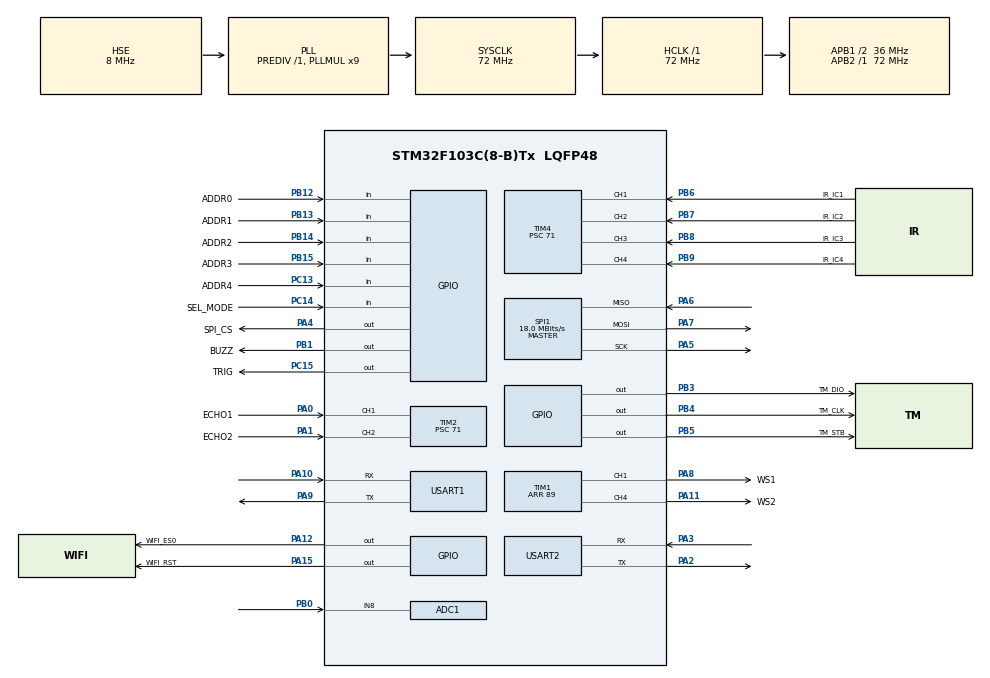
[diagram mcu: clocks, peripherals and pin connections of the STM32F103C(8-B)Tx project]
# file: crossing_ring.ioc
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ADC1.Channel-0\#ChannelRegularConversion=ADC_CHANNEL_8
ADC1.NbrOfConversionFlag=1
ADC1.Rank-0\#ChannelRegularConversion=1
ADC1.SamplingTime-0\#ChannelRegularConversion=ADC_SAMPLETIME_1CYCLE_5
ADC1.master=1
Dma.Request0=TIM1_CH1
Dma.Request1=TIM1_CH4/TRIG/COM
Dma.TIM1_CH1.0.Direction=DMA_MEMORY_TO_PERIPH
Dma.TIM1_CH1.0.Instance=DMA1_Channel2
Dma.TIM1_CH1.0.MemDataAlignment=DMA_MDATAALIGN_HALFWORD
Dma.TIM1_CH1.0.MemInc=DMA_MINC_ENABLE
Dma.TIM1_CH1.0.Mode=DMA_NORMAL
Dma.TIM1_CH1.0.PeriphDataAlignment=DMA_PDATAALIGN_HALFWORD
Dma.TIM1_CH1.0.PeriphInc=DMA_PINC_DISABLE
Dma.TIM1_CH1.0.Priority=DMA_PRIORITY_LOW
Dma.TIM1_CH4/TRIG/COM.1.Direction=DMA_MEMORY_TO_PERIPH
Dma.TIM1_CH4/TRIG/COM.1.Instance=DMA1_Channel4
Dma.TIM1_CH4/TRIG/COM.1.MemDataAlignment=DMA_MDATAALIGN_HALFWORD
Dma.TIM1_CH4/TRIG/COM.1.MemInc=DMA_MINC_ENABLE
Dma.TIM1_CH4/TRIG/COM.1.Mode=DMA_NORMAL
Dma.TIM1_CH4/TRIG/COM.1.PeriphDataAlignment=DMA_PDATAALIGN_HALFWORD
Dma.TIM1_CH4/TRIG/COM.1.PeriphInc=DMA_PINC_DISABLE
Dma.TIM1_CH4/TRIG/COM.1.Priority=DMA_PRIORITY_LOW
Mcu.Family=STM32F1
Mcu.Name=STM32F103C(8-B)Tx
Mcu.Package=LQFP48
NVIC.DMA1_Channel2_IRQn=true\:0\:0\:false\:false\:true\:false\:true\:true
NVIC.DMA1_Channel4_IRQn=true\:0\:0\:false\:false\:true\:false\:true\:true
NVIC.PriorityGroup=NVIC_PRIORITYGROUP_4
NVIC.TIM2_IRQn=true\:0\:0\:false\:false\:true\:true\:true\:true
NVIC.TIM3_IRQn=true\:0\:0\:false\:false\:true\:true\:true\:true
NVIC.TIM4_IRQn=true\:0\:0\:true\:false\:true\:true\:true\:true
NVIC.USART2_IRQn=true\:0\:0\:false\:false\:true\:true\:true\:true
PA0-WKUP.GPIO_Label=ECHO1
PA0-WKUP.Signal=S_TIM2_CH1_ETR
PA1.GPIO_Label=ECHO2
PA1.Signal=S_TIM2_CH2
PA10.Mode=Asynchronous
PA10.Signal=USART1_RX
PA11.GPIO_Label=WS2
PA11.Signal=S_TIM1_CH4
PA12.GPIO_Label=WIFI_ES0
PA12.GPIO_PuPd=GPIO_PULLUP
PA12.Signal=GPIO_Output
PA13.Mode=Serial_Wire
PA13.Signal=SYS_JTMS-SWDIO
PA14.Mode=Serial_Wire
PA14.Signal=SYS_JTCK-SWCLK
PA15.GPIO_Label=WIFI_RST
PA15.GPIO_PuPd=GPIO_PULLUP
PA15.Signal=GPIO_Output
PA2.Mode=Asynchronous
PA2.Signal=USART2_TX
PA3.Mode=Asynchronous
PA3.Signal=USART2_RX
PA4.GPIO_Label=SPI_CS
PA4.Signal=GPIO_Output
PA5.Mode=Full_Duplex_Master
PA5.Signal=SPI1_SCK
PA6.Mode=Full_Duplex_Master
PA6.Signal=SPI1_MISO
PA7.Mode=Full_Duplex_Master
PA7.Signal=SPI1_MOSI
PA8.GPIO_Label=WS1
PA8.Signal=S_TIM1_CH1
PA9.Mode=Asynchronous
PA9.Signal=USART1_TX
PB0.Signal=ADCx_IN8
PB1.GPIO_Label=BUZZ
PB1.Signal=GPIO_Output
PB10.GPIO_Label=E2_SCL
PB10.Signal=I2C2_SCL
PB11.GPIO_Label=E2_SDA
PB11.Signal=I2C2_SDA
PB12.GPIO_Label=ADDR0
PB12.Signal=GPIO_Input
PB13.GPIO_Label=ADDR1
PB13.Signal=GPIO_Input
PB14.GPIO_Label=ADDR2
PB14.Signal=GPIO_Input
PB15.GPIO_Label=ADDR3
PB15.Signal=GPIO_Input
PB3.GPIO_Label=TM_DIO
PB3.GPIO_PuPd=GPIO_PULLUP
PB3.Signal=GPIO_Output
PB4.GPIO_Label=TM_CLK
PB4.GPIO_PuPd=GPIO_PULLUP
PB4.Signal=GPIO_Output
PB5.GPIO_Label=TM_STB
PB5.GPIO_PuPd=GPIO_PULLUP
PB5.Signal=GPIO_Output
PB6.GPIO_Label=IR_IC1
PB6.Signal=S_TIM4_CH1
PB7.GPIO_Label=IR_IC2
PB7.Signal=S_TIM4_CH2
PB8.GPIO_Label=IR_IC3
PB8.Signal=S_TIM4_CH3
PB9.GPIO_Label=IR_IC4
PB9.Signal=S_TIM4_CH4
PC13-TAMPER-RTC.GPIO_Label=ADDR4
PC13-TAMPER-RTC.Signal=GPIO_Input
PC14-OSC32_IN.GPIO_Label=SEL_MODE
PC14-OSC32_IN.Signal=GPIO_Input
PC15-OSC32_OUT.GPIO_Label=TRIG
PC15-OSC32_OUT.GPIO_Speed=GPIO_SPEED_FREQ_HIGH
PC15-OSC32_OUT.Signal=GPIO_Output
PD0-OSC_IN.Mode=HSE-External-Oscillator
PD0-OSC_IN.Signal=RCC_OSC_IN
PD1-OSC_OUT.Mode=HSE-External-Oscillator
PD1-OSC_OUT.Signal=RCC_OSC_OUT
ProjectManager.HeapSize=0x200
ProjectManager.StackSize=0x400
ProjectManager.TargetToolchain=MDK-ARM V5.32
RCC.ADCPresc=RCC_ADCPCLK2_DIV6
RCC.AHBFreq_Value=72000000
RCC.APB1CLKDivider=RCC_HCLK_DIV2
RCC.APB1Freq_Value=36000000
RCC.APB1TimFreq_Value=72000000
RCC.APB2Freq_Value=72000000
RCC.APB2TimFreq_Value=72000000
RCC.HCLKFreq_Value=72000000
RCC.PLLMUL=RCC_PLL_MUL9
RCC.PLLSourceVirtual=RCC_PLLSOURCE_HSE
RCC.SYSCLKFreq_VALUE=72000000
RCC.SYSCLKSource=RCC_SYSCLKSOURCE_PLLCLK
RCC.USBFreq_Value=72000000
SH.ADCx_IN8.0=ADC1_IN8,IN8
SH.S_TIM1_CH1.0=TIM1_CH1,PWM Generation1 CH1
SH.S_TIM1_CH4.0=TIM1_CH4,PWM Generation4 CH4
SH.S_TIM2_CH1_ETR.0=TIM2_CH1,Input_Capture1_from_TI1
SH.S_TIM2_CH2.0=TIM2_CH2,Input_Capture2_from_TI2
SH.S_TIM4_CH1.0=TIM4_CH1,Input_Capture1_from_TI1
SH.S_TIM4_CH2.0=TIM4_CH2,Input_Capture2_from_TI2
SH.S_TIM4_CH3.0=TIM4_CH3,Input_Capture3_from_TI3
SH.S_TIM4_CH4.0=TIM4_CH4,Input_Capture4_from_TI4
SPI1.BaudRatePrescaler=SPI_BAUDRATEPRESCALER_4
SPI1.CalculateBaudRate=18.0 MBits/s
SPI1.Direction=SPI_DIRECTION_2LINES
SPI1.Mode=SPI_MODE_MASTER
SPI1.VirtualType=VM_MASTER
TIM1.Channel-PWM\ Generation1\ CH1=TIM_CHANNEL_1
TIM1.Channel-PWM\ Generation4\ CH4=TIM_CHANNEL_4
TIM1.OCIdleState_1=TIM_OCIDLESTATE_RESET
TIM1.Period=89
TIM2.AutoReloadPreload=TIM_AUTORELOAD_PRELOAD_ENABLE
TIM2.Channel-Input_Capture1_from_TI1=TIM_CHANNEL_1
TIM2.Channel-Input_Capture2_from_TI2=TIM_CHANNEL_2
TIM2.ICFilter_CH1=8
TIM2.ICFilter_CH2=8
TIM2.Prescaler=71
TIM3.AutoReloadPreload=TIM_AUTORELOAD_PRELOAD_ENABLE
TIM3.Period=999
TIM3.Prescaler=71
TIM3.TIM_MasterOutputTrigger=TIM_TRGO_UPDATE
TIM4.AutoReloadPreload=TIM_AUTORELOAD_PRELOAD_ENABLE
TIM4.Channel-Input_Capture1_from_TI1=TIM_CHANNEL_1
TIM4.Channel-Input_Capture2_from_TI2=TIM_CHANNEL_2
TIM4.Channel-Input_Capture3_from_TI3=TIM_CHANNEL_3
TIM4.Channel-Input_Capture4_from_TI4=TIM_CHANNEL_4
TIM4.ICFilter_CH1=3
TIM4.Prescaler=71
USART1.VirtualMode=VM_ASYNC
USART2.VirtualMode=VM_ASYNC
VP_TIM3_VS_ClockSourceINT.Mode=Internal
board=custom

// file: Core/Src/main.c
/* USER CODE BEGIN Header */
/**
  ******************************************************************************
  * @file           : main.c
  * @brief          : Main program body
  ******************************************************************************
  * @attention
  *
  * Copyright (c) 2025 STMicroelectronics.
  * All rights reserved.
  *
  * This software is licensed under terms that can be found in the LICENSE file
  * in the root directory of this software component.
  * If no LICENSE file comes with this software, it is provided AS-IS.
  *
  ******************************************************************************
  */
/* USER CODE END Header */
#include "main.h"
#include "adc.h"
#include "dma.h"
#include "spi.h"
#include "tim.h"
#include "usart.h"
#include "gpio.h"

/* USER CODE BEGIN Includes */
#include "debug_log.h"
#include "gpio_ctrl.h"
#include "wifi_b35.h"
#include "tm1628a.h"
#include "ex_flash.h"
#include "string.h"
#include "ir.h"
#include "hc_sr04.h"
#include "ws2812b.h"
#include "config_info.h"
#include "longing.h"

/* USER CODE END Includes */

void SystemClock_Config(void);

/* USER CODE BEGIN 0 */

enum system_state{
  sys_wait_check,
  sys_checking,
  sys_reco_succ,
  sys_reco_fail,
  sys_wait_rst,
  sys_free_sta
};

uint8_t test_buf[200];

uint8_t current_state = sys_wait_check;
/* USER CODE END 0 */

int main(void)
{

  /* USER CODE BEGIN 1 */

  uint8_t artifical_res;
  uint16_t local_addr,send_len,cnt;

  /* USER CODE END 1 */

  /* MCU Configuration--------------------------------------------------------*/

  /* Reset of all peripherals, Initializes the Flash interface and the Systick. */
  HAL_Init();

  /* Configure the system clock */
  SystemClock_Config();

  /* Initialize all configured peripherals */
  MX_GPIO_Init();
  MX_DMA_Init();
  MX_TIM1_Init();
  MX_ADC1_Init();
  MX_SPI1_Init();
  MX_TIM2_Init();
  MX_TIM4_Init();
  MX_USART1_UART_Init();
  MX_USART2_UART_Init();
  MX_TIM3_Init();
  /* USER CODE BEGIN 2 */

  ir_init();
  hc_init();
  status_time_init();

  ringbuffer_init(&ringbuffer, rx_buff, 200);
  HAL_UART_Receive_IT(&huart2, &rx_data, 1);
  /* USER CODE END 2 */

  /* Infinite loop */
  /* USER CODE BEGIN WHILE */
  emlog(LOG_INFO, "enter main\r\n");

  // get local addr
  local_addr = get_dip_switch_addr();

  // get device mode
  get_device_mode();

  // digital tube self-check
  tm1628a_init(0);

  /* extern flash test */
  m25p16_sector_erase(0,1);    // 擦写1页，必要操作
  mylog("sizeof(config_info_1) = %d\r\n", sizeof(config_info_1));
  m25p16_read_data(0, (uint8_t*)&config_info_1, sizeof(config_info_1));
  print_config_info(config_info_1);
  config_info_init(&config_info_1);
  print_config_info(config_info_1);
  m25p16_write_page(0, (uint8_t*)&config_info_1, sizeof(config_info_1));
  m25p16_read_data(0, (uint8_t*)&config_info_1, sizeof(config_info_1));
  print_config_info(config_info_1);

  if(config_info_1.connc_flag!=1)
  {
    config_device_mode(DHCP_MODE, TCP_MODE, CLIENT_MODE);
    mylog("config info:\r\n");
    query_config_info();
  }
  else
  {
    wifi_reset();
  }

  mylog("dist self-check.\r\n");
  // hc_read(dist, HC_HEAD_NUM);
  // config_info_1.device_height = (dist[0] + dist[1]) / 2;

  /* 灯带测试 */
  // breatheLED(GREEN, 0, LED_TOTAL_CNT, 100);
  // ws_light_inc(NULL, 0, LED_TOTAL_CNT, GREEN, 1);
  // ws_light_shine(NULL, 50, CYAN);
  // ws_light_shine(NULL, LED_TOTAL_CNT, GREEN);

  while (1)
  {
    // set_buzz(BUZZ_SINGLE, 2000);
    // tm1628a_show_count(num,0,100,0);
    // num++;
    // tm1628a_show_code(1, 100, 0);

    /* 红外遥控接收测试 */
    // ir_read(ir_id, IR_HEAD_NUM);

    //   for(i=0;i<4;i++)
    //   {
    //     emlog(LOG_DEBUG, "CH: %d, %02x-%02x-%02x-%02x\r\n", i, ir_id[i][0], ir_id[i][1], ir_id[i][2], ir_id[i][3]);
    //     memset(ir_id[i], 0, 4);
    //   }

    /* 超声波测距测�??????? */

    // hc_read(dist, HC_HEAD_NUM);
    // mylog("left dist: %.2f cm --- %.2f m, right dist: %.2f cm --- %.2f m\r\n", dist[0],(dist[0] / 100.0), dist[1], (dist[1] / 100.0));
    // memset(dist, 0, 2);

    /* 灯带测试 */

    // breatheLED(YELLOW, 0, LED_TOTAL_CNT, 50);

    /* 电池电压测试 */
    // batt_val = adc_get_value();
    // emlog(LOG_DEBUG, "batt val: %.2fV \r\n", batt_val);

    /* 上传数据到上行端�? */

    /* 串口2接收测试 */
  //   if(rx_complt)
  //   {

  //   cnt = get_used_len(&ringbuffer);
  //   get_free_len(&ringbuffer);
  //   read_bytes(&ringbuffer, test_buf, cnt);
  //   emlog(LOG_DEBUG, "cnt= %d.\r\n", cnt);

  //   if(cnt!=0)
  //   {
  //     emlog(LOG_DEBUG, "recv: %s", test_buf);

  //     recv_cmd_precess(test_buf, cnt, &recv_info);
  //     memset(test_buf, 0, sizeof(test_buf));

  //   }
  //   rx_complt = 0;

  // }

    /* USER CODE END WHILE */

    /* USER CODE BEGIN 3 */
    /* 全手动控�? */
    if(rx_complt)
    {
      cnt = get_used_len(&ringbuffer);
      get_free_len(&ringbuffer);
      read_bytes(&ringbuffer, test_buf, cnt);
      // emlog(LOG_DEBUG, "cnt= %d.\r\n", cnt);
      if(cnt!=0)
      {
        // emlog(LOG_DEBUG, "recv: %s", test_buf);
        artifical_res = recv_cmd_precess(test_buf, cnt, &recv_info);
        memset(test_buf, 0, sizeof(test_buf));

      }
      rx_complt = 0;
    }

    switch(artifical_res)
    {
      case OSADDS:
        ws_light_shine(NULL, LED_TOTAL_CNT, config_info_1.cross_color);
        tm1628a_show_count(config_info_1.curr_score,0,100,0);
        // set_buzz(BUZZ_SINGLE, 1000);
        break;

      case OSSUBS:
        ws_light_shine(NULL, LED_TOTAL_CNT, PURPLE);
        tm1628a_show_count(config_info_1.curr_score,0,100,0);
        // set_buzz(BUZZ_SINGLE, 1000);
        break;

      case OSREZS:
        ws_light_shine(NULL, LED_TOTAL_CNT, BLACK);
        tm1628a_show_count(config_info_1.curr_score,0,100,0);
        // set_buzz(BUZZ_SINGLE, 2000);
        break;

      case OSWARN:
        ws_light_shine(NULL, LED_TOTAL_CNT, GOLD);
        tm1628a_show_count(config_info_1.curr_score,0,100,0);
        // set_buzz(BUZZ_THREE, 500);
        break;

      default:
        if(current_state == sys_wait_check)
        {
          ws_light_shine(NULL, LED_TOTAL_CNT, config_info_1.wait_cross);
        }
        tm1628a_show_count(config_info_1.curr_score,0,100,1);
        break;
    }
    switch(artifical_res)
    {
      case 0:
      case 1:
        status_time_ctrl(1);
        if(timeout_cnt >= 60 && current_state != sys_free_sta)
        {
          current_state = sys_free_sta;
        }

        break;

      default:
        status_time_ctrl(0);
        timeout_cnt = 0;
        current_state = sys_wait_check;
        break;
    }

    if(timeout_cnt % 2 == 0 && current_state == sys_free_sta)
    {
      breatheLED(CYAN, 0, LED_TOTAL_CNT, 50);
    }
    artifical_res = 0;

    /* 自动感应+手动控制 */
    // if(rx_complt)
    // {
    //   cnt = get_used_len(&ringbuffer);
    //   get_free_len(&ringbuffer);
    //   read_bytes(&ringbuffer, test_buf, cnt);
    //   // emlog(LOG_DEBUG, "cnt= %d.\r\n", cnt);
    //   if(cnt!=0)
    //   {
    //     // emlog(LOG_DEBUG, "recv: %s", test_buf);
    //     recv_cmd_precess(test_buf, cnt, &recv_info);
    //     memset(test_buf, 0, sizeof(test_buf));

    //   }
    //   rx_complt = 0;
    // }

    // switch(current_state)
    // {
    //   case sys_wait_check:    // �?�?
    //     // hc_start();
    //     tm1628a_show_count(config_info_1.curr_score,0,100,1);
    //     ws_light_shine(NULL, LED_TOTAL_CNT, config_info_1.wait_cross);
    //     memset(dist, 0, HC_HEAD_NUM);
    //     hc_read(dist, HC_HEAD_NUM);
    //     // mylog("left dist: %.2f cm --- %.2f m, right dist: %.2f cm --- %.2f m\r\n", dist[0],(dist[0] / 100.0), dist[1], (dist[1] / 100.0));

    //     // if(config_info_1.device_height - dist[0] >= config_info_1.uav_height || config_info_1.device_height - dist[1] >= config_info_1.uav_height)
    //     if(config_info_1.device_height - dist[0] >= config_info_1.uav_height)
    //     {
    //       current_state = sys_checking;
    //     }

    //     break;

    //   case sys_checking:

    //     if(config_info_1.recog_flag)
    //     {
    //       memset(dist, 0, HC_HEAD_NUM);
    //       ir_read(ir_id, IR_HEAD_NUM);
    //       if(ir_id[1][0]==0x00 && ir_id[1][1]==0xef && ir_id[1][2]==0x02 && ir_id[1][3]==0xfc)
    //       // if(ir_id[1][0]==0x00 && ir_id[1][1]==0xef)
    //       {
    //         current_state = sys_reco_succ;
    //       }

    //     }
    //     else
    //     {
    //       hc_read(dist, HC_HEAD_NUM);
    //       // if(config_info_1.device_height - dist[0] <= 5.0f || config_info_1.device_height - dist[1] <= 5.0f)
    //       if(config_info_1.device_height - dist[0] <= 5.0f)
    //       {
    //         current_state = sys_reco_succ;
    //       }
    //       memset(dist, 0, HC_HEAD_NUM);

    //     }
    //     break;

    //   case sys_reco_succ:
    //     set_buzz(BUZZ_SINGLE, 1);
    //     ws_light_shine(NULL, LED_TOTAL_CNT, config_info_1.cross_color);

    //     tm1628a_show_count(config_info_1.curr_score++,0,100,0);

    //     current_state = sys_wait_rst;
    //     break;

    //   case sys_reco_fail:
    //     current_state = sys_checking;
    //     ws_light_shine(NULL, LED_TOTAL_CNT, config_info_1.wait_cross);
    //     break;

    //   case sys_wait_rst:

    //     current_state = sys_wait_check;
    //     ws_light_shine(NULL, LED_TOTAL_CNT, config_info_1.cross_color);

    //     // if(batt_val <= LOW_BAT_WARNING);    // 低压报警
    //     // {
    //       // ws_light_shine(NULL, LED_TOTAL_CNT, BLACK);
    //       // set_buzz(BUZZ_THREE, 1000);
    //       // tm1628a_show_code(1, 100, 0);
    //       // ws_light_shine(NULL, 3, RED);
    //       // emlog(LOG_DEBUG, "low battarry\r\n");
    //     // }
    //     break;

    // }

  }
  /* USER CODE END 3 */
}

void SystemClock_Config(void)
{
  RCC_OscInitTypeDef RCC_OscInitStruct = {0};
  RCC_ClkInitTypeDef RCC_ClkInitStruct = {0};
  RCC_PeriphCLKInitTypeDef PeriphClkInit = {0};

  /** Initializes the RCC Oscillators according to the specified parameters
  * in the RCC_OscInitTypeDef structure.
  */
  RCC_OscInitStruct.OscillatorType = RCC_OSCILLATORTYPE_HSE;
  RCC_OscInitStruct.HSEState = RCC_HSE_ON;
  RCC_OscInitStruct.HSEPredivValue = RCC_HSE_PREDIV_DIV1;
  RCC_OscInitStruct.HSIState = RCC_HSI_ON;
  RCC_OscInitStruct.PLL.PLLState = RCC_PLL_ON;
  RCC_OscInitStruct.PLL.PLLSource = RCC_PLLSOURCE_HSE;
  RCC_OscInitStruct.PLL.PLLMUL = RCC_PLL_MUL9;
  if (HAL_RCC_OscConfig(&RCC_OscInitStruct) != HAL_OK)
  {
    Error_Handler();
  }

  /** Initializes the CPU, AHB and APB buses clocks
  */
  RCC_ClkInitStruct.ClockType = RCC_CLOCKTYPE_HCLK|RCC_CLOCKTYPE_SYSCLK
                              |RCC_CLOCKTYPE_PCLK1|RCC_CLOCKTYPE_PCLK2;
  RCC_ClkInitStruct.SYSCLKSource = RCC_SYSCLKSOURCE_PLLCLK;
  RCC_ClkInitStruct.AHBCLKDivider = RCC_SYSCLK_DIV1;
  RCC_ClkInitStruct.APB1CLKDivider = RCC_HCLK_DIV2;
  RCC_ClkInitStruct.APB2CLKDivider = RCC_HCLK_DIV1;

  if (HAL_RCC_ClockConfig(&RCC_ClkInitStruct, FLASH_LATENCY_2) != HAL_OK)
  {
    Error_Handler();
  }
  PeriphClkInit.PeriphClockSelection = RCC_PERIPHCLK_ADC;
  PeriphClkInit.AdcClockSelection = RCC_ADCPCLK2_DIV6;
  if (HAL_RCCEx_PeriphCLKConfig(&PeriphClkInit) != HAL_OK)
  {
    Error_Handler();
  }
}

/* USER CODE BEGIN 4 */

void HAL_TIM_IC_CaptureCallback(TIM_HandleTypeDef *htim)
{
  hc_tim_ic_isr(&HC_TIM);
  ir_tim_ic_isr(&IR_TIM);
}

void HAL_TIM_PeriodElapsedCallback(TIM_HandleTypeDef* htim)
{
  if(htim->Instance == HC_TIM.Instance)
  {
    hc_tim_over_isr(&HC_TIM);
  }
  if(htim->Instance == IR_TIM.Instance)
  {
    ir_tim_over_isr(&IR_TIM);
  }
  if(htim->Instance == htim3.Instance)
  {
    status_time_over_isr(&htim3);
  }

}

/* USER CODE END 4 */

void Error_Handler(void)
{
  __disable_irq();
  while (1)
  {
  }
}
